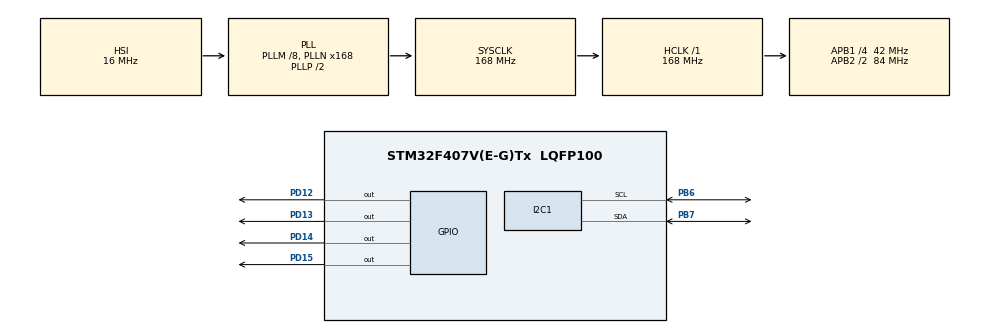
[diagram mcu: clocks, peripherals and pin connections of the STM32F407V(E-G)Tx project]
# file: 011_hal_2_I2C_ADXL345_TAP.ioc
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I2C1.I2C_Mode=I2C_Fast
Mcu.Family=STM32F4
Mcu.Name=STM32F407V(E-G)Tx
Mcu.Package=LQFP100
NVIC.PriorityGroup=NVIC_PRIORITYGROUP_4
PB6.Mode=I2C
PB6.Signal=I2C1_SCL
PB7.Mode=I2C
PB7.Signal=I2C1_SDA
PD12.Signal=GPIO_Output
PD13.Signal=GPIO_Output
PD14.Signal=GPIO_Output
PD15.Signal=GPIO_Output
ProjectManager.HeapSize=0x200
ProjectManager.StackSize=0x400
ProjectManager.TargetToolchain=STM32CubeIDE
RCC.48MHZClocksFreq_Value=84000000
RCC.AHBFreq_Value=168000000
RCC.APB1CLKDivider=RCC_HCLK_DIV4
RCC.APB1Freq_Value=42000000
RCC.APB1TimFreq_Value=84000000
RCC.APB2CLKDivider=RCC_HCLK_DIV2
RCC.APB2Freq_Value=84000000
RCC.APB2TimFreq_Value=168000000
RCC.CortexFreq_Value=168000000
RCC.HCLKFreq_Value=168000000
RCC.HSE_VALUE=25000000
RCC.HSI_VALUE=16000000
RCC.LSE_VALUE=32768
RCC.PLLM=8
RCC.PLLN=168
RCC.SYSCLKFreq_VALUE=168000000
RCC.SYSCLKSource=RCC_SYSCLKSOURCE_PLLCLK
RCC.VCOOutputFreq_Value=336000000
board=custom

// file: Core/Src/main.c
/* USER CODE BEGIN Header */
/**
 ******************************************************************************
 * @file           : main.c
 * @brief          : Main program body
 ******************************************************************************
 * @attention
 *
 * Copyright (c) 2023 STMicroelectronics.
 * All rights reserved.
 *
 * This software is licensed under terms that can be found in the LICENSE file
 * in the root directory of this software component.
 * If no LICENSE file comes with this software, it is provided AS-IS.
 *
 ******************************************************************************
 */
/* USER CODE END Header */
#include "main.h"

I2C_HandleTypeDef hi2c1;

void SystemClock_Config(void);
static void MX_GPIO_Init(void);
static void MX_I2C1_Init(void);
/* USER CODE BEGIN PFP */

#define ADXL345_I2C_SLAVE_ADDRESS 0xA6 // 0x53 << 1 yaparsan aynı şeyi bulursun.
uint8_t i;
uint8_t myDatas[6];
int16_t x, y, z;
uint8_t status;
uint8_t data_rec;

void findSlaveAddress() {
	for (i = 0; i <= 255; i++) {
		if (HAL_OK == HAL_I2C_IsDeviceReady(&hi2c1, i, 1, 100)) {
			break; // break olursa slave cihazın addresini buldun demektir, adress decimal de 166,hexadecimal de 0xA6 dır.
		}
	}
}

uint8_t ADXL345_Read(uint8_t rRegister, uint8_t numberOfBytes) {

	HAL_I2C_Mem_Read(&hi2c1, ADXL345_I2C_SLAVE_ADDRESS, rRegister, 1, &data_rec,numberOfBytes, 100);
	return data_rec;
}

void ADXL345_Write(uint8_t wRegister, uint8_t value) {
	uint8_t data[2] = { 0 };
	data[0] = wRegister;
	data[1] = value;
	HAL_I2C_Master_Transmit(&hi2c1, ADXL345_I2C_SLAVE_ADDRESS, data, 2, 100);
}

void ADXL345_Init() {

	ADXL345_Read(0x00, 1); // 0x00 registerindan 0xE5 okuyorsak demekki cihaz dogru calışıyordur
	ADXL345_Write(0x2D, 0); // reset all bits
	// Setup ->
	ADXL345_Write(0x2D, 0x08); // measure bit 1,wake up bit 0,autosleep 0,sleep 0 and wakeup frequency 8 hz

	//z eksenine basma algılama için etkinleştirir
	ADXL345_Write(0x2A, 0x01); // enable tap to z-axes,
	// 62.5 mg/LSB 40* 0.0625 =2.5 g
	ADXL345_Write(0x1D, 40);
	// basma süresini ayarla, 625uS/LSB * 32 = 0,02s
	ADXL345_Write(0x21, 32);
	// dokunma gecikmesini ayarla 1,25 ms /LSB *80 =0,01s
	ADXL345_Write(0x22, 80);
	// INT_MAP'i  INT1 olarak ayarla
	ADXL345_Write(0x2F, 0x00);
	// tekli ve ikili basmayı aktif etme
	ADXL345_Write(0x2E, 0x60);

}

/* USER CODE END PFP */

int main(void) {

	/* MCU Configuration--------------------------------------------------------*/

	/* Reset of all peripherals, Initializes the Flash interface and the Systick. */
	HAL_Init();

	/* Configure the system clock */
	SystemClock_Config();

	/* Initialize all configured peripherals */
	MX_GPIO_Init();
	MX_I2C1_Init();
	/* USER CODE BEGIN 2 */

	findSlaveAddress();

	/* USER CODE END 2 */

	/* Infinite loop */
	while (1) {

		/* USER CODE BEGIN 3 */

		status = ADXL345_Read(0x30, 1);

		// myDatas[0] ; overrun
		// myDatas[1] ; watermark
		// myDatas[2] ; free fall
		// myDatas[3] ; inactivity
		// myDatas[4] ; activity
		// myDatas[5] ; double tap
		// myDatas[6] ; single tap
		// myDatas[7] ; data ready

		if ((status >> 6) & 0x01 ) { // single tap , 6 bit sola shift ettik.
			HAL_GPIO_TogglePin(GPIOD, GPIO_PIN_12 | GPIO_PIN_13);
		} else if ((status >> 5 ) & 0x01) { // double tap
			HAL_GPIO_TogglePin(GPIOD, GPIO_PIN_14 | GPIO_PIN_15);
		}

	}
	/* USER CODE END 3 */
}

void SystemClock_Config(void) {
	RCC_OscInitTypeDef RCC_OscInitStruct = { 0 };
	RCC_ClkInitTypeDef RCC_ClkInitStruct = { 0 };

	/** Configure the main internal regulator output voltage
	 */
	__HAL_RCC_PWR_CLK_ENABLE();
	__HAL_PWR_VOLTAGESCALING_CONFIG(PWR_REGULATOR_VOLTAGE_SCALE1);

	/** Initializes the RCC Oscillators according to the specified parameters
	 * in the RCC_OscInitTypeDef structure.
	 */
	RCC_OscInitStruct.OscillatorType = RCC_OSCILLATORTYPE_HSI;
	RCC_OscInitStruct.HSIState = RCC_HSI_ON;
	RCC_OscInitStruct.HSICalibrationValue = RCC_HSICALIBRATION_DEFAULT;
	RCC_OscInitStruct.PLL.PLLState = RCC_PLL_ON;
	RCC_OscInitStruct.PLL.PLLSource = RCC_PLLSOURCE_HSI;
	RCC_OscInitStruct.PLL.PLLM = 8;
	RCC_OscInitStruct.PLL.PLLN = 168;
	RCC_OscInitStruct.PLL.PLLP = RCC_PLLP_DIV2;
	RCC_OscInitStruct.PLL.PLLQ = 4;
	if (HAL_RCC_OscConfig(&RCC_OscInitStruct) != HAL_OK) {
		Error_Handler();
	}

	/** Initializes the CPU, AHB and APB buses clocks
	 */
	RCC_ClkInitStruct.ClockType = RCC_CLOCKTYPE_HCLK | RCC_CLOCKTYPE_SYSCLK
			| RCC_CLOCKTYPE_PCLK1 | RCC_CLOCKTYPE_PCLK2;
	RCC_ClkInitStruct.SYSCLKSource = RCC_SYSCLKSOURCE_PLLCLK;
	RCC_ClkInitStruct.AHBCLKDivider = RCC_SYSCLK_DIV1;
	RCC_ClkInitStruct.APB1CLKDivider = RCC_HCLK_DIV4;
	RCC_ClkInitStruct.APB2CLKDivider = RCC_HCLK_DIV2;

	if (HAL_RCC_ClockConfig(&RCC_ClkInitStruct, FLASH_LATENCY_5) != HAL_OK) {
		Error_Handler();
	}
}

static void MX_I2C1_Init(void) {

	hi2c1.Instance = I2C1;
	hi2c1.Init.ClockSpeed = 400000;
	hi2c1.Init.DutyCycle = I2C_DUTYCYCLE_2;
	hi2c1.Init.OwnAddress1 = 0;
	hi2c1.Init.AddressingMode = I2C_ADDRESSINGMODE_7BIT;
	hi2c1.Init.DualAddressMode = I2C_DUALADDRESS_DISABLE;
	hi2c1.Init.OwnAddress2 = 0;
	hi2c1.Init.GeneralCallMode = I2C_GENERALCALL_DISABLE;
	hi2c1.Init.NoStretchMode = I2C_NOSTRETCH_DISABLE;
	if (HAL_I2C_Init(&hi2c1) != HAL_OK) {
		Error_Handler();
	}

}

static void MX_GPIO_Init(void) {
	GPIO_InitTypeDef GPIO_InitStruct = { 0 };

	/* GPIO Ports Clock Enable */
	__HAL_RCC_GPIOD_CLK_ENABLE();
	__HAL_RCC_GPIOB_CLK_ENABLE();

	/*Configure GPIO pin Output Level */
	HAL_GPIO_WritePin(GPIOD,
			GPIO_PIN_12 | GPIO_PIN_13 | GPIO_PIN_14 | GPIO_PIN_15,
			GPIO_PIN_RESET);

	/*Configure GPIO pins : PD12 PD13 PD14 PD15 */
	GPIO_InitStruct.Pin = GPIO_PIN_12 | GPIO_PIN_13 | GPIO_PIN_14 | GPIO_PIN_15;
	GPIO_InitStruct.Mode = GPIO_MODE_OUTPUT_PP;
	GPIO_InitStruct.Pull = GPIO_NOPULL;
	GPIO_InitStruct.Speed = GPIO_SPEED_FREQ_LOW;
	HAL_GPIO_Init(GPIOD, &GPIO_InitStruct);

}

void Error_Handler(void) {
	__disable_irq();
	while (1) {
	}
}
